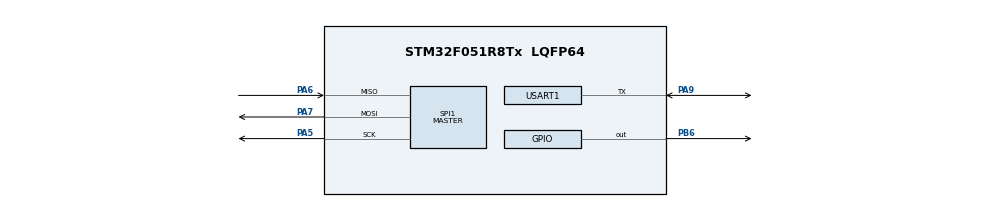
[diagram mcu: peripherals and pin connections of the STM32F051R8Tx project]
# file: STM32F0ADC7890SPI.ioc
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Mcu.Family=STM32F0
Mcu.Name=STM32F051R8Tx
Mcu.Package=LQFP64
PA5.Mode=Full_Duplex_Master
PA5.Signal=SPI1_SCK
PA6.Mode=Full_Duplex_Master
PA6.Signal=SPI1_MISO
PA7.Mode=Full_Duplex_Master
PA7.Signal=SPI1_MOSI
PA9.Mode=Half_duplex(single_wire_mode)
PA9.Signal=USART1_TX
PB6.Signal=GPIO_Output
ProjectManager.HeapSize=0x200
ProjectManager.StackSize=0x400
ProjectManager.TargetToolchain=STM32CubeIDE
SPI1.Direction=SPI_DIRECTION_2LINES
SPI1.Mode=SPI_MODE_MASTER
SPI1.VirtualType=VM_MASTER
USART1.BaudRate=115200
USART1.VirtualMode-Half_duplex(single_wire_mode)=VM_ASYNC
board=custom

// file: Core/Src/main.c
/* USER CODE BEGIN Header */
/**
  ******************************************************************************
  * @file           : main.c
  * @brief          : Main program body
  ******************************************************************************
  * @attention
  *
  * Copyright (c) 2023 STMicroelectronics.
  * All rights reserved.
  *
  * This software is licensed under terms that can be found in the LICENSE file
  * in the root directory of this software component.
  * If no LICENSE file comes with this software, it is provided AS-IS.
  *
  ******************************************************************************
  */
/* USER CODE END Header */
#include "main.h"

/* USER CODE BEGIN Includes */

#include <stdio.h>

/* USER CODE END Includes */

SPI_HandleTypeDef hspi1;

UART_HandleTypeDef huart1;

void SystemClock_Config(void);
static void MX_GPIO_Init(void);
static void MX_SPI1_Init(void);
static void MX_USART1_UART_Init(void);

int main(void)
{
  /* USER CODE BEGIN 1 */

	char uart_buf[50];
	int uart_buf_len;
	char spi_buf[20];
	uint8_t addr;
	uint8_t wip;

  /* USER CODE END 1 */

  /* MCU Configuration--------------------------------------------------------*/

  /* Reset of all peripherals, Initializes the Flash interface and the Systick. */
  HAL_Init();

  /* Configure the system clock */
  SystemClock_Config();

  /* Initialize all configured peripherals */
  MX_GPIO_Init();
  MX_SPI1_Init();
  MX_USART1_UART_Init();
  /* USER CODE BEGIN 2 */

  // CS pin should default high
    HAL_GPIO_WritePin(GPIOB, GPIO_PIN_6, GPIO_PIN_SET);

    // Print something out to the serial terminal to ensure everything is working
    uart_buf_len = sprintf(uart_buf, "SPI Test\r\n");
    HAL_UART_Transmit(&huart1, (uint8_t *)uart_buf, uart_buf_len, 100);

    // Enable write enable latch (allow write operations)
    HAL_GPIO_WritePin(GPIOB, GPIO_PIN_6, GPIO_PIN_RESET);
    HAL_SPI_Transmit(&hspi1, (uint8_t *)&EEPROM_WREN, 1, 100);
    HAL_GPIO_WritePin(GPIOB, GPIO_PIN_6, GPIO_PIN_SET);

    // Read status register
    HAL_GPIO_WritePin(GPIOB, GPIO_PIN_6, GPIO_PIN_RESET);
    HAL_SPI_Transmit(&hspi1, (uint8_t *)&EEPROM_RDSR, 1, 100);
    HAL_SPI_Receive(&hspi1, (uint8_t *)spi_buf, 1, 100);
    HAL_GPIO_WritePin(GPIOB, GPIO_PIN_6, GPIO_PIN_SET);

    // Print out status register
    uart_buf_len = sprintf(uart_buf,
                            "Status: 0xx\r\n",
                            (unsigned int)spi_buf[0]);
    HAL_UART_Transmit(&huart1, (uint8_t *)uart_buf, uart_buf_len, 100);

    // Test bytes to write to EEPROM
    spi_buf[0] = 0xAB;
    spi_buf[1] = 0xCD;
    spi_buf[2] = 0xEF;

    // Set starting address
    addr = 0x05;

    // Write 3 bytes starting at given address
    HAL_GPIO_WritePin(GPIOB, GPIO_PIN_6, GPIO_PIN_RESET);
    HAL_SPI_Transmit(&hspi1, (uint8_t *)&EEPROM_WRITE, 1, 100);
    HAL_SPI_Transmit(&hspi1, (uint8_t *)&addr, 1, 100);
    HAL_SPI_Transmit(&hspi1, (uint8_t *)spi_buf, 3, 100);
    HAL_GPIO_WritePin(GPIOB, GPIO_PIN_6, GPIO_PIN_SET);

    // Clear buffer
    spi_buf[0] = 0;
    spi_buf[1] = 0;
    spi_buf[2] = 0;

    // Wait until WIP bit is cleared
    wip = 1;
    while (wip)
    {
      // Read status register
      HAL_GPIO_WritePin(GPIOB, GPIO_PIN_6, GPIO_PIN_RESET);
      HAL_SPI_Transmit(&hspi1, (uint8_t *)&EEPROM_RDSR, 1, 100);
      HAL_SPI_Receive(&hspi1, (uint8_t *)spi_buf, 1, 100);
      HAL_GPIO_WritePin(GPIOB, GPIO_PIN_6, GPIO_PIN_SET);

      // Mask out WIP bit
      wip = spi_buf[0] & 0b00000001;
    }

    // Read the 3 bytes back
    HAL_GPIO_WritePin(GPIOB, GPIO_PIN_6, GPIO_PIN_RESET);
    HAL_SPI_Transmit(&hspi1, (uint8_t *)&EEPROM_READ, 1, 100);
    HAL_SPI_Transmit(&hspi1, (uint8_t *)&addr, 1, 100);
    HAL_SPI_Receive(&hspi1, (uint8_t *)spi_buf, 3, 100);
    HAL_GPIO_WritePin(GPIOB, GPIO_PIN_6, GPIO_PIN_SET);

    // Print out bytes read
    uart_buf_len = sprintf(uart_buf,
                            "0xx 0xx 0xx\r\n",
                            (unsigned int)spi_buf[0],
                            (unsigned int)spi_buf[1],
                            (unsigned int)spi_buf[2]);
    HAL_UART_Transmit(&huart1, (uint8_t *)uart_buf, uart_buf_len, 100);

    // Read status register
    HAL_GPIO_WritePin(GPIOB, GPIO_PIN_6, GPIO_PIN_RESET);
    HAL_SPI_Transmit(&hspi1, (uint8_t *)&EEPROM_RDSR, 1, 100);
    HAL_SPI_Receive(&hspi1, (uint8_t *)spi_buf, 1, 100);
    HAL_GPIO_WritePin(GPIOB, GPIO_PIN_6, GPIO_PIN_SET);

    // Print out status register
    uart_buf_len = sprintf(uart_buf,
                            "Status: 0xx\r\n",
                            (unsigned int)spi_buf[0]);
    HAL_UART_Transmit(&huart1, (uint8_t *)uart_buf, uart_buf_len, 100);

  /* USER CODE END 2 */

  /* Infinite loop */
  while (1)
  {

  }
}

void SystemClock_Config(void)
{
  RCC_OscInitTypeDef RCC_OscInitStruct = {0};
  RCC_ClkInitTypeDef RCC_ClkInitStruct = {0};
  RCC_PeriphCLKInitTypeDef PeriphClkInit = {0};

  /** Initializes the RCC Oscillators according to the specified parameters
  * in the RCC_OscInitTypeDef structure.
  */
  RCC_OscInitStruct.OscillatorType = RCC_OSCILLATORTYPE_HSI;
  RCC_OscInitStruct.HSIState = RCC_HSI_ON;
  RCC_OscInitStruct.HSICalibrationValue = RCC_HSICALIBRATION_DEFAULT;
  RCC_OscInitStruct.PLL.PLLState = RCC_PLL_NONE;
  if (HAL_RCC_OscConfig(&RCC_OscInitStruct) != HAL_OK)
  {
    Error_Handler();
  }

  /** Initializes the CPU, AHB and APB buses clocks
  */
  RCC_ClkInitStruct.ClockType = RCC_CLOCKTYPE_HCLK|RCC_CLOCKTYPE_SYSCLK
                              |RCC_CLOCKTYPE_PCLK1;
  RCC_ClkInitStruct.SYSCLKSource = RCC_SYSCLKSOURCE_HSI;
  RCC_ClkInitStruct.AHBCLKDivider = RCC_SYSCLK_DIV1;
  RCC_ClkInitStruct.APB1CLKDivider = RCC_HCLK_DIV1;

  if (HAL_RCC_ClockConfig(&RCC_ClkInitStruct, FLASH_LATENCY_0) != HAL_OK)
  {
    Error_Handler();
  }
  PeriphClkInit.PeriphClockSelection = RCC_PERIPHCLK_USART1;
  PeriphClkInit.Usart1ClockSelection = RCC_USART1CLKSOURCE_PCLK1;
  if (HAL_RCCEx_PeriphCLKConfig(&PeriphClkInit) != HAL_OK)
  {
    Error_Handler();
  }
}

static void MX_SPI1_Init(void)
{

  /* SPI1 parameter configuration*/
  hspi1.Instance = SPI1;
  hspi1.Init.Mode = SPI_MODE_MASTER;
  hspi1.Init.Direction = SPI_DIRECTION_2LINES;
  hspi1.Init.DataSize = SPI_DATASIZE_4BIT;
  hspi1.Init.CLKPolarity = SPI_POLARITY_LOW;
  hspi1.Init.CLKPhase = SPI_PHASE_1EDGE;
  hspi1.Init.NSS = SPI_NSS_SOFT;
  hspi1.Init.BaudRatePrescaler = SPI_BAUDRATEPRESCALER_2;
  hspi1.Init.FirstBit = SPI_FIRSTBIT_MSB;
  hspi1.Init.TIMode = SPI_TIMODE_DISABLE;
  hspi1.Init.CRCCalculation = SPI_CRCCALCULATION_DISABLE;
  hspi1.Init.CRCPolynomial = 7;
  hspi1.Init.CRCLength = SPI_CRC_LENGTH_DATASIZE;
  hspi1.Init.NSSPMode = SPI_NSS_PULSE_ENABLE;
  if (HAL_SPI_Init(&hspi1) != HAL_OK)
  {
    Error_Handler();
  }

}

static void MX_USART1_UART_Init(void)
{

  huart1.Instance = USART1;
  huart1.Init.BaudRate = 115200;
  huart1.Init.WordLength = UART_WORDLENGTH_8B;
  huart1.Init.StopBits = UART_STOPBITS_1;
  huart1.Init.Parity = UART_PARITY_NONE;
  huart1.Init.Mode = UART_MODE_TX_RX;
  huart1.Init.HwFlowCtl = UART_HWCONTROL_NONE;
  huart1.Init.OverSampling = UART_OVERSAMPLING_16;
  huart1.Init.OneBitSampling = UART_ONE_BIT_SAMPLE_DISABLE;
  huart1.AdvancedInit.AdvFeatureInit = UART_ADVFEATURE_NO_INIT;
  if (HAL_HalfDuplex_Init(&huart1) != HAL_OK)
  {
    Error_Handler();
  }

}

static void MX_GPIO_Init(void)
{
  GPIO_InitTypeDef GPIO_InitStruct = {0};

  /* GPIO Ports Clock Enable */
  __HAL_RCC_GPIOA_CLK_ENABLE();
  __HAL_RCC_GPIOB_CLK_ENABLE();

  /*Configure GPIO pin Output Level */
  HAL_GPIO_WritePin(GPIOB, GPIO_PIN_6, GPIO_PIN_RESET);

  /*Configure GPIO pin : PB6 */
  GPIO_InitStruct.Pin = GPIO_PIN_6;
  GPIO_InitStruct.Mode = GPIO_MODE_OUTPUT_PP;
  GPIO_InitStruct.Pull = GPIO_NOPULL;
  GPIO_InitStruct.Speed = GPIO_SPEED_FREQ_LOW;
  HAL_GPIO_Init(GPIOB, &GPIO_InitStruct);

}

/* USER CODE BEGIN 4 */
// This is called when SPI transmit is done
void HAL_SPI_TxCpltCallback (SPI_HandleTypeDef * hspi)
{
  // Set CS pin to high and raise flag
  HAL_GPIO_WritePin(GPIOB, GPIO_PIN_6, GPIO_PIN_SET);
  spi_xmit_flag = 1;
}

// This is called when SPI receive is done
void HAL_SPI_RxCpltCallback (SPI_HandleTypeDef * hspi)
{
  // Set CS pin to high and raise flag
  HAL_GPIO_WritePin(GPIOB, GPIO_PIN_6, GPIO_PIN_SET);
  spi_recv_flag = 1;
}

/* USER CODE END 4 */

void Error_Handler(void)
{
  __disable_irq();
  while (1)
  {
  }
}
